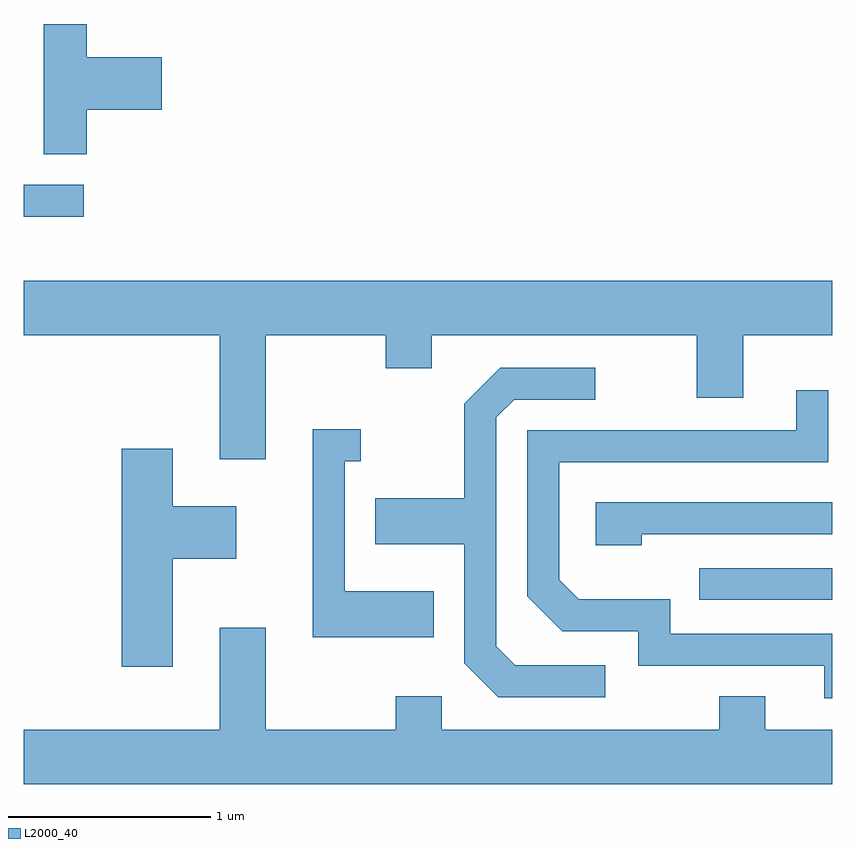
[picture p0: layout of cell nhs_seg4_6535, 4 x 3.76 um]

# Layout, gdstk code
import gdstk
lib = gdstk.Library(unit=1e-6, precision=1e-09)
def R(c, l, rs):  # rectangles x0, y0, x1, y1
    for r in rs: c.add(gdstk.rectangle(r[:2], r[2:], *l))
def P(c, l, *ps):  # polygons
    for p in ps: c.add(gdstk.Polygon(p, *l))
L2000_40 = (2000, 40)

nhs_seg4_6535 = lib.new_cell('nhs_seg4_6535')
R(nhs_seg4_6535, L2000_40, [(380.953,1269.006,381.611,1269.164), (377.611,1270.901,377.908,1271.059)])
P(nhs_seg4_6535, L2000_40, [(377.924,1271.431),(378.294,1271.431),(378.294,1271.689),(377.924,1271.689),(377.924,1271.854),(377.711,1271.854),(377.711,1271.211),(377.924,1271.211)],
  [(378.809,1270.316),(379.401,1270.316),(379.401,1270.151),(379.629,1270.151),(379.629,1270.316),(380.941,1270.316),(380.941,1270.006),(381.169,1270.006),(381.169,1270.316),(381.611,1270.316),(381.611,1270.584),(377.611,1270.584),(377.611,1270.316),(378.581,1270.316),(378.581,1269.701),(378.809,1269.701)],
  [(380.488,1268.684),(380.042,1268.684),(379.949,1268.777),(379.949,1269.909),(380.037,1269.996),(380.438,1269.996),(380.438,1270.154),(379.969,1270.154),(379.791,1269.977),(379.791,1269.509),(379.351,1269.509),(379.351,1269.281),(379.791,1269.281),(379.791,1268.694),(379.959,1268.526),(380.488,1268.526)],
  [(381.611,1268.839),(380.809,1268.839),(380.809,1269.009),(380.357,1269.009),(380.259,1269.107),(380.259,1269.686),(381.589,1269.686),(381.589,1270.043),(381.431,1270.043),(381.431,1269.844),(380.101,1269.844),(380.101,1269.024),(380.274,1268.851),(380.651,1268.851),(380.651,1268.681),(381.571,1268.681),(381.571,1268.521),(381.611,1268.521)],
  [(379.639,1269.049),(379.199,1269.049),(379.199,1269.691),(379.278,1269.691),(379.278,1269.849),(379.041,1269.849),(379.041,1268.821),(379.639,1268.821)],
  [(378.349,1269.211),(378.664,1269.211),(378.664,1269.469),(378.349,1269.469),(378.349,1269.754),(378.096,1269.754),(378.096,1268.676),(378.349,1268.676)],
  [(380.669,1269.331),(381.611,1269.331),(381.611,1269.489),(380.441,1269.489),(380.441,1269.276),(380.669,1269.276)],
  [(378.581,1268.869),(378.581,1268.364),(377.611,1268.364),(377.611,1268.096),(381.611,1268.096),(381.611,1268.364),(381.279,1268.364),(381.279,1268.529),(381.051,1268.529),(381.051,1268.364),(379.679,1268.364),(379.679,1268.529),(379.451,1268.529),(379.451,1268.364),(378.809,1268.364),(378.809,1268.869)])

lib.write_gds('nhs_seg4_6535.gds')
